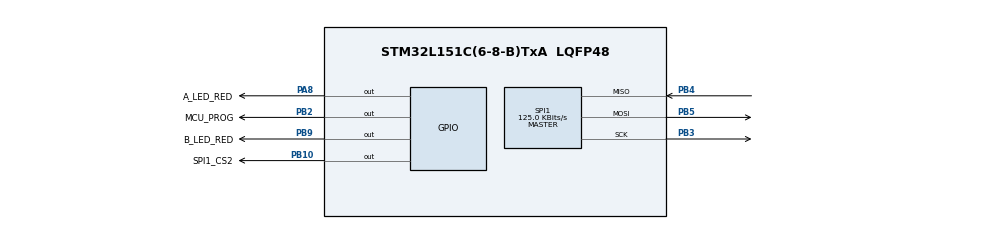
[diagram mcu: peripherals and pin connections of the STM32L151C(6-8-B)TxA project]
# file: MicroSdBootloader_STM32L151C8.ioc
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Mcu.Family=STM32L1
RCC.MSI_VALUE=2097000
PB9.GPIO_Label=B_LED_RED
SPI1.VirtualType=VM_MASTER
RCC.SYSCLKSource=RCC_SYSCLKSOURCE_PLLCLK
ProjectManager.StackSize=0x400
PA13.Signal=SYS_JTMS-SWDIO
PA8.GPIO_Label=A_LED_RED
RCC.PLLDIV=RCC_PLL_DIV4
ProjectManager.TargetToolchain=STM32CubeIDE
PB10.GPIO_Label=SPI1_CS2
SPI1.Direction=SPI_DIRECTION_2LINES
RCC.HCLKFreq_Value=16000000
RCC.APB2TimFreq_Value=16000000
SPI1.CalculateBaudRate=125.0 KBits/s
RCC.LSE_VALUE=32768
RCC.AHBFreq_Value=16000000
PB10.Signal=GPIO_Output
RCC.HSE_VALUE=24000000
PB2.Signal=GPIO_Output
PB3.Mode=Full_Duplex_Master
board=custom
RCC.VCOOutputFreq_Value=64000000
RCC.PLLMUL=RCC_PLL_MUL4
RCC.APB2Freq_Value=16000000
PB4.Mode=Full_Duplex_Master
SPI1.Mode=SPI_MODE_MASTER
PA14.Mode=Serial_Wire
PB5.Mode=Full_Duplex_Master
PA8.Signal=GPIO_Output
PA13.Mode=Serial_Wire
Mcu.Name=STM32L151C(6-8-B)TxA
RCC.48MHZClocksFreq_Value=32000000
PB3.Signal=SPI1_SCK
RCC.SYSCLKFreq_VALUE=16000000
Mcu.Package=LQFP48
PB5.Signal=SPI1_MOSI
PB9.Signal=GPIO_Output
PA14.Signal=SYS_JTCK-SWCLK
PB2.GPIO_Label=MCU_PROG
ProjectManager.HeapSize=0x200
RCC.HSI_VALUE=16000000
NVIC.PriorityGroup=NVIC_PRIORITYGROUP_4
RCC.APB1TimFreq_Value=16000000
RCC.APB1Freq_Value=16000000
SPI1.BaudRatePrescaler=SPI_BAUDRATEPRESCALER_128
PB4.Signal=SPI1_MISO

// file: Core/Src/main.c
/* USER CODE BEGIN Header */
/**
  ******************************************************************************
  * @file           : main.c
  * @brief          : Main program body
  ******************************************************************************
  * @attention
  *
  * <h2><center>&copy; Copyright (c) 2021 STMicroelectronics.
  * All rights reserved.</center></h2>
  *
  * This software component is licensed by ST under BSD 3-Clause license,
  * the "License"; You may not use this file except in compliance with the
  * License. You may obtain a copy of the License at:
  *                        opensource.org/licenses/BSD-3-Clause
  *
  ******************************************************************************
  */
/* USER CODE END Header */
#include "main.h"
#include "spi.h"
#include "gpio.h"

/* USER CODE BEGIN Includes */
#include "../../../../SharedLibs/MicroSdBootloader/Include/Flash.h"
#include "../../../../SharedLibs/MicroSdBootloader/Include/Loader.h"
/* USER CODE END Includes */

void SystemClock_Config(void);
/* USER CODE BEGIN PFP */
void MicroSdBootloader_GoToApp(void);
static void MicroSdBootloader_FlashTest();
/* USER CODE END PFP */

int main(void)
{

  /* MCU Configuration--------------------------------------------------------*/

  /* Reset of all peripherals, Initializes the Flash interface and the Systick. */
  HAL_Init();

  /* Configure the system clock */
  SystemClock_Config();

  /* Initialize all configured peripherals */
  MX_GPIO_Init();
  MX_SPI1_Init();
  /* USER CODE BEGIN 2 */
  Loader_MainProcess();
  MicroSdBootloader_GoToApp();
  /* USER CODE END 2 */

  /* Infinite loop */
  while (1)
  {

  }
}

void SystemClock_Config(void)
{

  LL_FLASH_Enable64bitAccess();

  LL_FLASH_SetLatency(LL_FLASH_LATENCY_0);
  while(LL_FLASH_GetLatency()!= LL_FLASH_LATENCY_0)
  {
  }
  LL_PWR_SetRegulVoltageScaling(LL_PWR_REGU_VOLTAGE_SCALE1);
  LL_RCC_HSI_Enable();

   /* Wait till HSI is ready */
  while(LL_RCC_HSI_IsReady() != 1)
  {

  }
  LL_RCC_HSI_SetCalibTrimming(16);
  LL_RCC_PLL_ConfigDomain_SYS(LL_RCC_PLLSOURCE_HSI, LL_RCC_PLL_MUL_4, LL_RCC_PLL_DIV_4);
  LL_RCC_PLL_Enable();

   /* Wait till PLL is ready */
  while(LL_RCC_PLL_IsReady() != 1)
  {

  }
  LL_RCC_SetAHBPrescaler(LL_RCC_SYSCLK_DIV_1);
  LL_RCC_SetAPB1Prescaler(LL_RCC_APB1_DIV_1);
  LL_RCC_SetAPB2Prescaler(LL_RCC_APB2_DIV_1);
  LL_RCC_SetSysClkSource(LL_RCC_SYS_CLKSOURCE_PLL);

   /* Wait till System clock is ready */
  while(LL_RCC_GetSysClkSource() != LL_RCC_SYS_CLKSOURCE_STATUS_PLL)
  {

  }
  LL_SetSystemCoreClock(16000000);

   /* Update the time base */
  if (HAL_InitTick (TICK_INT_PRIORITY) != HAL_OK)
  {
    Error_Handler();
  }
}

/* USER CODE BEGIN 4 */

void MicroSdBootloader_GoToApp(void)
{
	uint32_t appJumpAddress;
	void (*GoToApp)(void);

	appJumpAddress = *((volatile uint32_t*)(FLASH_USER_START_ADDR + 4));
	GoToApp = (void (*)(void))appJumpAddress;

	LL_RCC_DeInit();
	HAL_DeInit();

	__disable_irq();
	SCB->VTOR = FLASH_USER_START_ADDR;
	__set_MSP(*((volatile uint32_t*) FLASH_USER_START_ADDR));
    __enable_irq();
	GoToApp();
}

static void MicroSdBootloader_FlashTest()
{
	uint32_t buffer = 0;

	Flash_Init();
	Flash_Read(0x00, &buffer);
	Flash_Erase(0);
	Flash_Read(0x00, &buffer);

	uint32_t pattern[128] = {0};

    for (uint32_t dword = 0; dword < 128; dword++)
    {
        pattern[dword] = dword;
        Flash_Write(4*dword, pattern[dword]);
    }

    for (uint32_t dword = 0; dword < 128; dword++)
    {
    	Flash_Read(4*dword, &buffer);
    }

	return;
}

/* USER CODE END 4 */

void Error_Handler(void)
{
  __disable_irq();
  while (1)
  {
  }
}

/************************ (C) COPYRIGHT STMicroelectronics *****END OF FILE****/
